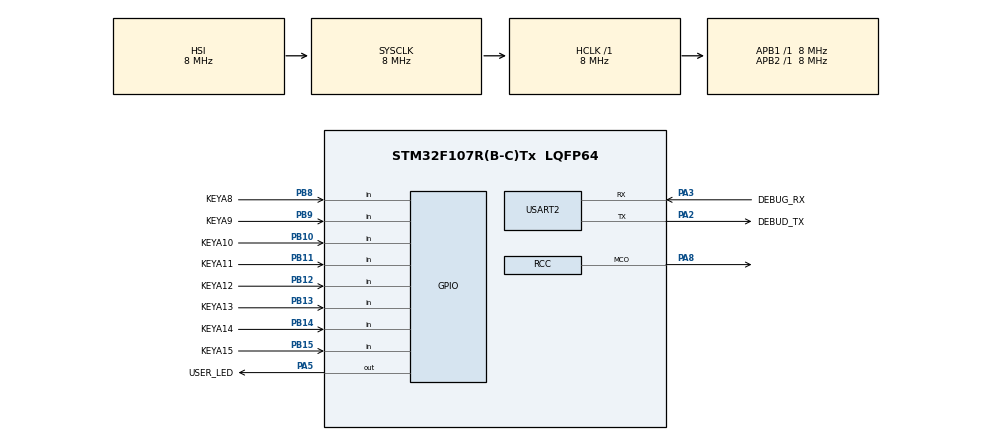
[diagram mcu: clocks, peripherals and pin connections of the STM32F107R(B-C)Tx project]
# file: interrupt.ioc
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Mcu.Family=STM32F1
Mcu.Name=STM32F107R(B-C)Tx
Mcu.Package=LQFP64
NVIC.PriorityGroup=NVIC_PRIORITYGROUP_4
PA2.GPIO_Label=DEBUD_TX
PA2.Mode=Asynchronous
PA2.Signal=USART2_TX
PA3.GPIO_Label=DEBUG_RX
PA3.Mode=Asynchronous
PA3.Signal=USART2_RX
PA5.GPIO_Label=USER_LED
PA5.Signal=GPIO_Output
PA8.Mode=Clock-out
PA8.Signal=RCC_MCO
PB10.GPIO_Label=KEYA10
PB10.GPIO_PuPd=GPIO_PULLUP
PB10.Signal=GPIO_Input
PB11.GPIO_Label=KEYA11
PB11.GPIO_PuPd=GPIO_PULLUP
PB11.Signal=GPIO_Input
PB12.GPIO_Label=KEYA12
PB12.GPIO_PuPd=GPIO_PULLUP
PB12.Signal=GPIO_Input
PB13.GPIO_Label=KEYA13
PB13.GPIO_PuPd=GPIO_PULLUP
PB13.Signal=GPIO_Input
PB14.GPIO_Label=KEYA14
PB14.GPIO_PuPd=GPIO_PULLUP
PB14.Signal=GPIO_Input
PB15.GPIO_Label=KEYA15
PB15.GPIO_PuPd=GPIO_PULLUP
PB15.Signal=GPIO_Input
PB8.GPIO_Label=KEYA8
PB8.GPIO_PuPd=GPIO_PULLUP
PB8.Signal=GPIO_Input
PB9.GPIO_Label=KEYA9
PB9.GPIO_PuPd=GPIO_PULLUP
PB9.Signal=GPIO_Input
PC14-OSC32_IN.Mode=LSE-External-Oscillator
PC14-OSC32_IN.Signal=RCC_OSC32_IN
PC15-OSC32_OUT.Mode=LSE-External-Oscillator
PC15-OSC32_OUT.Signal=RCC_OSC32_OUT
PD0-OSC_IN.Mode=HSE-External-Oscillator
PD0-OSC_IN.Signal=RCC_OSC_IN
PD1-OSC_OUT.Mode=HSE-External-Oscillator
PD1-OSC_OUT.Signal=RCC_OSC_OUT
ProjectManager.HeapSize=0x200
ProjectManager.StackSize=0x400
ProjectManager.TargetToolchain=STM32CubeIDE
RCC.AHBFreq_Value=8000000
RCC.APB1Freq_Value=8000000
RCC.APB1TimFreq_Value=8000000
RCC.APB2Freq_Value=8000000
RCC.APB2TimFreq_Value=8000000
RCC.HCLKFreq_Value=8000000
RCC.SYSCLKFreq_VALUE=8000000
RCC.USBFreq_Value=10666666.666666666
USART2.VirtualMode=VM_ASYNC
VP_SYS_VS_ND.Mode=No_Debug
board=custom

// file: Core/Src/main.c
/* USER CODE BEGIN Header */
/**
  ******************************************************************************
  * @file           : main.c
  * @brief          : Main program body
  ******************************************************************************
  * @attention
  *
  * Copyright (c) 2022 STMicroelectronics.
  * All rights reserved.
  *
  * This software is licensed under terms that can be found in the LICENSE file
  * in the root directory of this software component.
  * If no LICENSE file comes with this software, it is provided AS-IS.
  *
  ******************************************************************************
  */
/* USER CODE END Header */
#include "main.h"

/* USER CODE BEGIN Includes */

#include <stdio.h>
#include "retarget.h"
/* USER CODE END Includes */

UART_HandleTypeDef huart2;

void SystemClock_Config(void);
static void MX_GPIO_Init(void);
static void MX_USART2_UART_Init(void);

int main(void)
{

  /* MCU Configuration--------------------------------------------------------*/

  /* Reset of all peripherals, Initializes the Flash interface and the Systick. */
  HAL_Init();

  /* Configure the system clock */
  SystemClock_Config();

  /* Initialize all configured peripherals */
  MX_GPIO_Init();
  MX_USART2_UART_Init();
  /* USER CODE BEGIN 2 */
  RetargetInit(&huart2);
  printf("all initialized\n");
  /* USER CODE END 2 */

  /* Infinite loop */
  /* USER CODE BEGIN WHILE */
//  int a = 0;
  uint32_t mask = 0xFF;
  uint32_t previous  = 0;
  while (1)
  {
    /* USER CODE END WHILE */

    /* USER CODE BEGIN 3 */
    uint32_t tmp = GPIOB->IDR >> 8 & mask;
    if(previous != tmp) {
      previous = tmp;
      HAL_GPIO_TogglePin (USER_LED_GPIO_Port, USER_LED_Pin);
      printf("%u%u%u%u%u%u%u%u\n",
        previous & 0x80 ? 1 : 0, previous & 0x40 ? 1 : 0, previous & 0x20 ? 1 : 0, previous & 0x10 ? 1 : 0,
        previous & 0x08 ? 1 : 0, previous & 0x04 ? 1 : 0, previous & 0x02 ? 1 : 0, previous & 0x01 ? 1 : 0);

    }
  }
  /* USER CODE END 3 */
}

void SystemClock_Config(void)
{
  RCC_OscInitTypeDef RCC_OscInitStruct = {0};
  RCC_ClkInitTypeDef RCC_ClkInitStruct = {0};

  /** Initializes the RCC Oscillators according to the specified parameters
  * in the RCC_OscInitTypeDef structure.
  */
  RCC_OscInitStruct.OscillatorType = RCC_OSCILLATORTYPE_HSI;
  RCC_OscInitStruct.HSIState = RCC_HSI_ON;
  RCC_OscInitStruct.HSICalibrationValue = RCC_HSICALIBRATION_DEFAULT;
  RCC_OscInitStruct.PLL.PLLState = RCC_PLL_NONE;
  RCC_OscInitStruct.PLL2.PLL2State = RCC_PLL_NONE;
  if (HAL_RCC_OscConfig(&RCC_OscInitStruct) != HAL_OK)
  {
    Error_Handler();
  }

  /** Initializes the CPU, AHB and APB buses clocks
  */
  RCC_ClkInitStruct.ClockType = RCC_CLOCKTYPE_HCLK|RCC_CLOCKTYPE_SYSCLK
                              |RCC_CLOCKTYPE_PCLK1|RCC_CLOCKTYPE_PCLK2;
  RCC_ClkInitStruct.SYSCLKSource = RCC_SYSCLKSOURCE_HSI;
  RCC_ClkInitStruct.AHBCLKDivider = RCC_SYSCLK_DIV1;
  RCC_ClkInitStruct.APB1CLKDivider = RCC_HCLK_DIV1;
  RCC_ClkInitStruct.APB2CLKDivider = RCC_HCLK_DIV1;

  if (HAL_RCC_ClockConfig(&RCC_ClkInitStruct, FLASH_LATENCY_0) != HAL_OK)
  {
    Error_Handler();
  }
  HAL_RCC_MCOConfig(RCC_MCO, RCC_MCO1SOURCE_SYSCLK, RCC_MCODIV_1);

  /** Configure the Systick interrupt time
  */
  __HAL_RCC_PLLI2S_ENABLE();
}

static void MX_USART2_UART_Init(void)
{

  huart2.Instance = USART2;
  huart2.Init.BaudRate = 115200;
  huart2.Init.WordLength = UART_WORDLENGTH_8B;
  huart2.Init.StopBits = UART_STOPBITS_1;
  huart2.Init.Parity = UART_PARITY_NONE;
  huart2.Init.Mode = UART_MODE_TX_RX;
  huart2.Init.HwFlowCtl = UART_HWCONTROL_NONE;
  huart2.Init.OverSampling = UART_OVERSAMPLING_16;
  if (HAL_UART_Init(&huart2) != HAL_OK)
  {
    Error_Handler();
  }

}

static void MX_GPIO_Init(void)
{
  GPIO_InitTypeDef GPIO_InitStruct = {0};

  /* GPIO Ports Clock Enable */
  __HAL_RCC_GPIOC_CLK_ENABLE();
  __HAL_RCC_GPIOD_CLK_ENABLE();
  __HAL_RCC_GPIOA_CLK_ENABLE();
  __HAL_RCC_GPIOB_CLK_ENABLE();

  /*Configure GPIO pin Output Level */
  HAL_GPIO_WritePin(USER_LED_GPIO_Port, USER_LED_Pin, GPIO_PIN_RESET);

  /*Configure GPIO pin : USER_LED_Pin */
  GPIO_InitStruct.Pin = USER_LED_Pin;
  GPIO_InitStruct.Mode = GPIO_MODE_OUTPUT_PP;
  GPIO_InitStruct.Pull = GPIO_NOPULL;
  GPIO_InitStruct.Speed = GPIO_SPEED_FREQ_LOW;
  HAL_GPIO_Init(USER_LED_GPIO_Port, &GPIO_InitStruct);

  /*Configure GPIO pins : KEYA10_Pin KEYA11_Pin KEYA12_Pin KEYA13_Pin
                           KEYA14_Pin KEYA15_Pin KEYA8_Pin KEYA9_Pin */
  GPIO_InitStruct.Pin = KEYA10_Pin|KEYA11_Pin|KEYA12_Pin|KEYA13_Pin
                          |KEYA14_Pin|KEYA15_Pin|KEYA8_Pin|KEYA9_Pin;
  GPIO_InitStruct.Mode = GPIO_MODE_INPUT;
  GPIO_InitStruct.Pull = GPIO_PULLUP;
  HAL_GPIO_Init(GPIOB, &GPIO_InitStruct);

  /*Configure GPIO pin : PA8 */
  GPIO_InitStruct.Pin = GPIO_PIN_8;
  GPIO_InitStruct.Mode = GPIO_MODE_AF_PP;
  GPIO_InitStruct.Speed = GPIO_SPEED_FREQ_LOW;
  HAL_GPIO_Init(GPIOA, &GPIO_InitStruct);

}

/* USER CODE BEGIN 4 */
#if 0
void HAL_GPIO_EXTI_Callback(uint16_t GPIO_Pin) {
 printf("0x%04X\n", GPIO_Pin);

 HAL_GPIO_TogglePin (USER_LED_GPIO_Port, USER_LED_Pin);
}
#endif
/* USER CODE END 4 */

void Error_Handler(void)
{
  __disable_irq();
  while (1)
  {
  }
}
